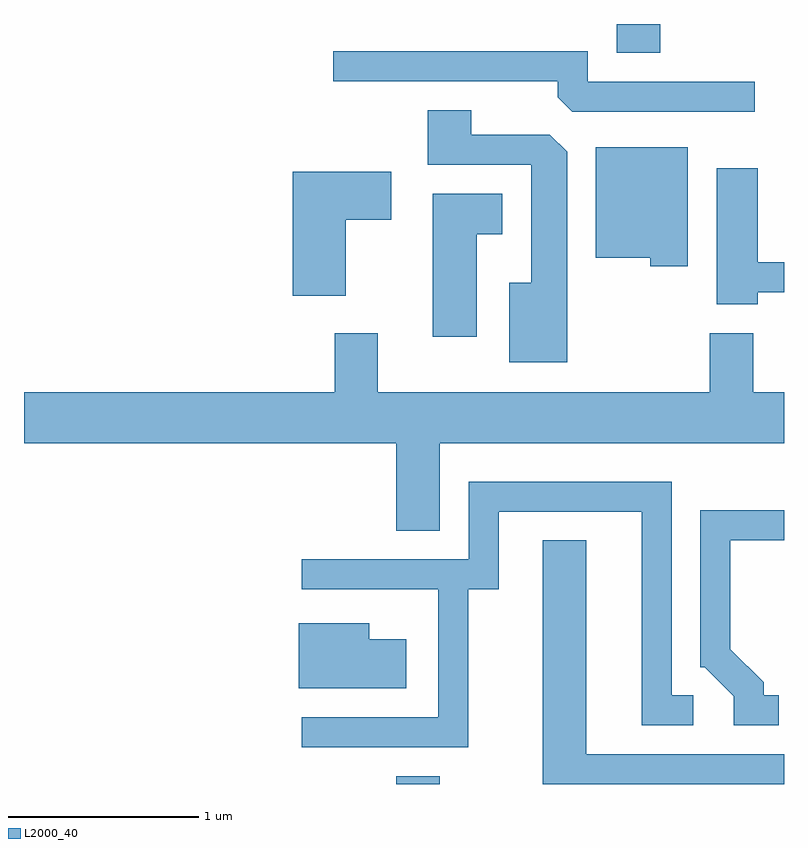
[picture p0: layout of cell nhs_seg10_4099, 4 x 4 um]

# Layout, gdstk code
import gdstk
lib = gdstk.Library(unit=1e-6, precision=1e-09)
def R(c, l, rs):  # rectangles x0, y0, x1, y1
    for r in rs: c.add(gdstk.rectangle(r[:2], r[2:], *l))
def P(c, l, *ps):  # polygons
    for p in ps: c.add(gdstk.Polygon(p, *l))
L2000_40 = (2000, 40)

nhs_seg10_4099 = lib.new_cell('nhs_seg10_4099')
R(nhs_seg10_4099, L2000_40, [(307.571,2156.522,307.799,2156.564), (308.731,2160.371,308.959,2160.522)])
P(nhs_seg10_4099, L2000_40, [(309.458,2160.219),(308.579,2160.219),(308.579,2160.379),(307.238,2160.379),(307.238,2160.221),(308.421,2160.221),(308.421,2160.137),(308.497,2160.061),(309.458,2160.061)],
  [(308.469,2159.849),(308.379,2159.939),(307.964,2159.939),(307.964,2160.069),(307.736,2160.069),(307.736,2159.781),(308.281,2159.781),(308.281,2159.159),(308.166,2159.159),(308.166,2158.741),(308.469,2158.741)],
  [(309.104,2159.874),(308.621,2159.874),(308.621,2159.291),(308.906,2159.291),(308.906,2159.246),(309.104,2159.246)],
  [(309.474,2159.111),(309.611,2159.111),(309.611,2159.269),(309.474,2159.269),(309.474,2159.764),(309.256,2159.764),(309.256,2159.046),(309.474,2159.046)],
  [(307.304,2159.491),(307.544,2159.491),(307.544,2159.744),(307.026,2159.744),(307.026,2159.091),(307.304,2159.091)],
  [(307.994,2159.416),(308.129,2159.416),(308.129,2159.629),(307.761,2159.629),(307.761,2158.876),(307.994,2158.876)],
  [(307.799,2158.316),(309.611,2158.316),(309.611,2158.584),(309.449,2158.584),(309.449,2158.894),(309.221,2158.894),(309.221,2158.584),(307.474,2158.584),(307.474,2158.894),(307.246,2158.894),(307.246,2158.584),(305.611,2158.584),(305.611,2158.316),(307.571,2158.316),(307.571,2157.856),(307.799,2157.856)],
  [(307.949,2157.546),(308.109,2157.546),(308.109,2157.956),(308.861,2157.956),(308.861,2156.831),(309.133,2156.831),(309.133,2156.989),(309.019,2156.989),(309.019,2158.114),(307.951,2158.114),(307.951,2157.704),(307.073,2157.704),(307.073,2157.546),(307.791,2157.546),(307.791,2156.874),(307.073,2156.874),(307.073,2156.716),(307.949,2156.716)],
  [(309.583,2156.989),(309.504,2156.989),(309.504,2157.057),(309.329,2157.232),(309.329,2157.806),(309.611,2157.806),(309.611,2157.964),(309.171,2157.964),(309.171,2157.136),(309.194,2157.136),(309.346,2156.984),(309.346,2156.831),(309.583,2156.831)],
  [(309.611,2156.679),(308.569,2156.679),(308.569,2157.804),(308.341,2157.804),(308.341,2156.522),(309.611,2156.522)],
  [(307.624,2157.284),(307.429,2157.284),(307.429,2157.369),(307.056,2157.369),(307.056,2157.026),(307.624,2157.026)])

lib.write_gds('nhs_seg10_4099.gds')
